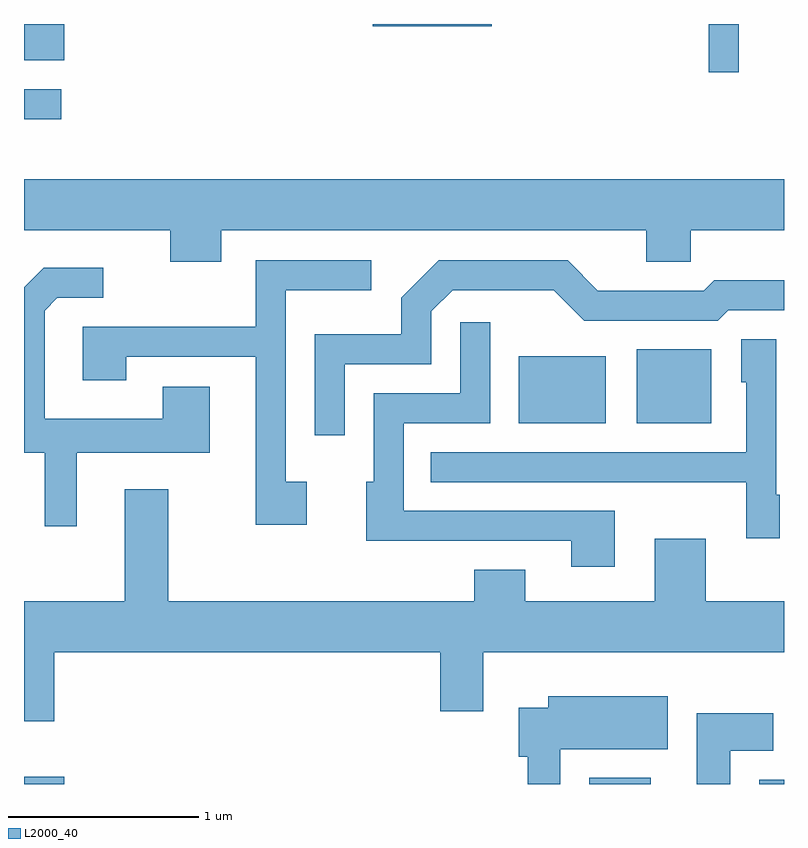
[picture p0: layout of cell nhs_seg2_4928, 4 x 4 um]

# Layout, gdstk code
import gdstk
lib = gdstk.Library(unit=1e-6, precision=1e-09)
def R(c, l, rs):  # rectangles x0, y0, x1, y1
    for r in rs: c.add(gdstk.rectangle(r[:2], r[2:], *l))
def P(c, l, *ps):  # polygons
    for p in ps: c.add(gdstk.Polygon(p, *l))
L2000_40 = (2000, 40)

nhs_seg2_4928 = lib.new_cell('nhs_seg2_4928')
R(nhs_seg2_4928, L2000_40, [(329.611,1089.802,329.824,1089.839), (332.586,1089.802,332.909,1089.834), (333.481,1089.802,333.611,1089.824), (332.216,1091.701,332.674,1092.054), (332.836,1091.701,333.229,1092.089), (329.611,1093.301,329.808,1093.459), (333.216,1093.548,333.374,1093.802), (329.611,1093.611,329.824,1093.802), (331.446,1093.791,332.074,1093.802)])
P(nhs_seg2_4928, L2000_40, [(330.649,1092.716),(332.886,1092.716),(332.886,1092.551),(333.119,1092.551),(333.119,1092.716),(333.611,1092.716),(333.611,1092.984),(329.611,1092.984),(329.611,1092.716),(330.381,1092.716),(330.381,1092.551),(330.649,1092.551)],
  [(331.099,1091.394),(330.989,1091.394),(330.989,1092.401),(331.438,1092.401),(331.438,1092.559),(330.831,1092.559),(330.831,1092.209),(329.921,1092.209),(329.921,1091.926),(330.149,1091.926),(330.149,1092.051),(330.831,1092.051),(330.831,1091.166),(331.099,1091.166)],
  [(331.299,1092.011),(331.754,1092.011),(331.754,1092.289),(331.867,1092.401),(332.399,1092.401),(332.559,1092.241),(333.262,1092.241),(333.317,1092.296),(333.611,1092.296),(333.611,1092.454),(333.244,1092.454),(333.189,1092.399),(332.632,1092.399),(332.472,1092.559),(331.794,1092.559),(331.596,1092.362),(331.596,1092.169),(331.141,1092.169),(331.141,1091.638),(331.299,1091.638)],
  [(329.889,1091.546),(330.589,1091.546),(330.589,1091.894),(330.341,1091.894),(330.341,1091.724),(329.719,1091.724),(329.719,1092.294),(329.787,1092.361),(330.028,1092.361),(330.028,1092.519),(329.714,1092.519),(329.611,1092.417),(329.611,1091.546),(329.721,1091.546),(329.721,1091.158),(329.889,1091.158)],
  [(332.719,1091.239),(331.609,1091.239),(331.609,1091.701),(332.064,1091.701),(332.064,1092.233),(331.906,1092.233),(331.906,1091.859),(331.451,1091.859),(331.451,1091.394),(331.411,1091.394),(331.411,1091.081),(332.491,1091.081),(332.491,1090.946),(332.719,1090.946)],
  [(333.589,1091.324),(333.569,1091.324),(333.569,1092.144),(333.386,1092.144),(333.386,1091.916),(333.411,1091.916),(333.411,1091.549),(331.753,1091.549),(331.753,1091.391),(333.411,1091.391),(333.411,1091.096),(333.589,1091.096)],
  [(329.769,1090.496),(331.801,1090.496),(331.801,1090.186),(332.029,1090.186),(332.029,1090.496),(333.611,1090.496),(333.611,1090.764),(333.199,1090.764),(333.199,1091.094),(332.931,1091.094),(332.931,1090.764),(332.249,1090.764),(332.249,1090.929),(331.981,1090.929),(331.981,1090.764),(330.369,1090.764),(330.369,1091.354),(330.141,1091.354),(330.141,1090.764),(329.611,1090.764),(329.611,1090.133),(329.769,1090.133)],
  [(332.434,1089.986),(332.999,1089.986),(332.999,1090.264),(332.371,1090.264),(332.371,1090.204),(332.216,1090.204),(332.216,1089.946),(332.261,1089.946),(332.261,1089.802),(332.434,1089.802)],
  [(333.329,1089.976),(333.554,1089.976),(333.554,1090.174),(333.151,1090.174),(333.151,1089.802),(333.329,1089.802)])

lib.write_gds('nhs_seg2_4928.gds')
